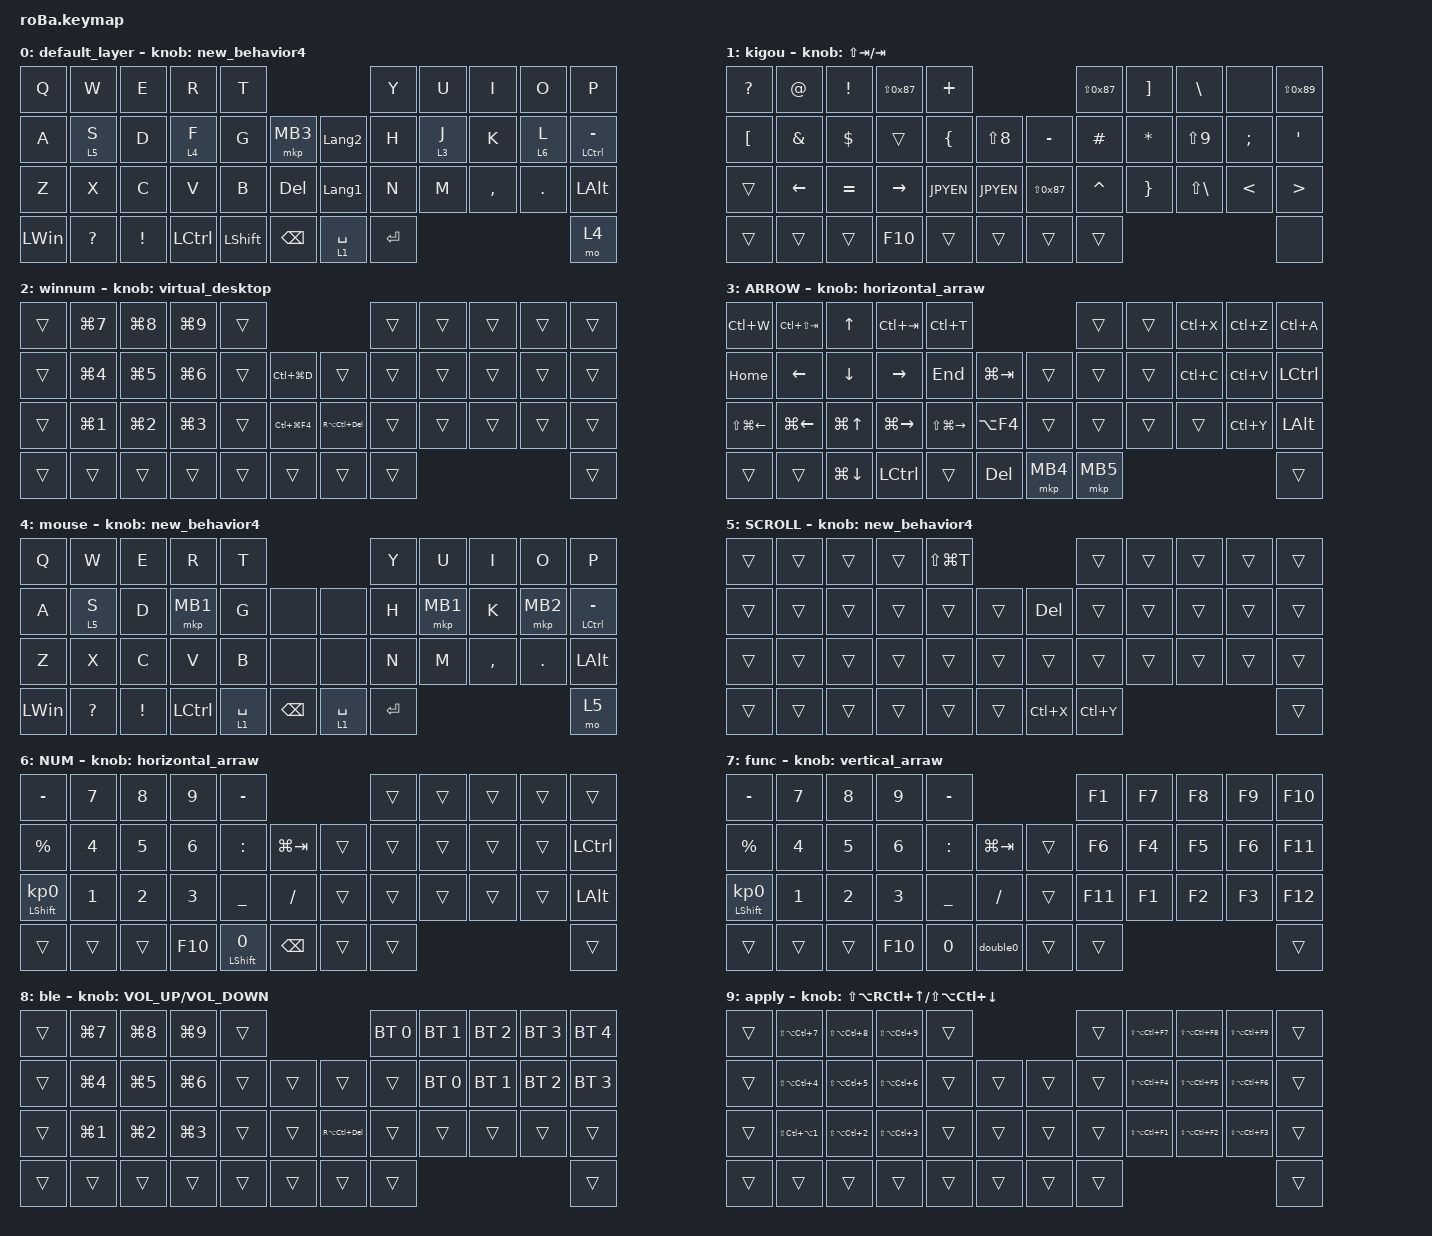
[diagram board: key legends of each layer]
#include <behaviors.dtsi>
#include <dt-bindings/zmk/bt.h>
#include <dt-bindings/zmk/keys.h>
#include <dt-bindings/zmk/pointing.h>

#define MOUSE 4
#define SCROLL 5
#define NUM 6
#define JPYEN 0x89
#define JPUNSC LS(0x87)
#define JPPIPE LS(0x89)
#define ZMK_MOUSE_POINTING_SCRL_VAL 100

/ {
    combos {
        compatible = "zmk,combos";

        UP_ARROWc {
            bindings = <&kp LS(TAB)>;
            key-positions = <2 7>;
        };

        DOWN_ARROWc {
            bindings = <&kp TAB>;
            key-positions = <12 19>;
        };

        wintab {
            bindings = <&kp LG(TAB)>;
            key-positions = <10 21>;
        };

        layer2 {
            bindings = <&mo 7>;
            key-positions = <3 13>;
        };

        layer3 {
            bindings = <&mo 8>;
            key-positions = <13 12>;
        };

        layer6 {
            bindings = <&mo 2>;
            key-positions = <8 20>;
        };

        lang2 {
            bindings = <&kp LANGUAGE_2>;
            key-positions = <39 18>;
        };

        screens {
            bindings = <&kp LG(LS(S))>;
            key-positions = <38 40>;
        };

        lang1 {
            bindings = <&kp LANGUAGE_1>;
            key-positions = <38 18>;
        };

        layer9 {
            bindings = <&mo 9>;
            key-positions = <40 39>;
        };
    };

    macros {
        double0: double0 {
            compatible = "zmk,behavior-macro";
            #binding-cells = <0>;
            bindings = <&kp NUMBER_0 &kp NUMBER_0>;
            label = "DOUBLE0";
        };

        under_score: under_score {
            compatible = "zmk,behavior-macro";
            #binding-cells = <0>;
            bindings = <&kp LANG1 &kp U &kp N &kp S &kp C &kp SPACE &kp ENTER &kp LANGUAGE_2>;
            label = "UNDER_SCORE";
        };

        back_s: back_s {
            compatible = "zmk,behavior-macro";
            #binding-cells = <0>;
            bindings = <&kp LANG1 &kp B &kp A &kp C &kp K &kp S &kp SPACE &kp RET &kp LANGUAGE_2>;
            label = "BACK_S";
        };

        pipe: pipe {
            compatible = "zmk,behavior-macro";
            #binding-cells = <0>;
            bindings = <&kp LANG1 &kp P &kp I &kp P &kp E &kp SPACE &kp RET &kp LANGUAGE_2>;
            label = "PIPE";
        };

        underscorejp: underscorejp {
            compatible = "zmk,behavior-macro";
            #binding-cells = <0>;
            bindings = <&kp LANG1 &kp U &kp N &kp S &kp C &kp SPACE &kp ENTER>;
            label = "UNDERSCOREJP";
        };

        backsjp: backsjp {
            compatible = "zmk,behavior-macro";
            #binding-cells = <0>;
            bindings = <&kp LANG1 &kp B &kp A &kp C &kp K &kp S &kp SPACE &kp RET>;
            label = "BACKSJP";
        };

        pipejp: pipejp {
            compatible = "zmk,behavior-macro";
            #binding-cells = <0>;
            bindings = <&kp LANG1 &kp P &kp I &kp P &kp E &kp SPACE &kp RET &kp LANGUAGE_2>;
            label = "PIPEJP";
        };
    };

    behaviors {
        vertical_arraw: vertical_arraw {
            compatible = "zmk,behavior-sensor-rotate";
            label = "VERTICAL_ARRAW";
            #sensor-binding-cells = <0>;
            bindings = <&kp UP_ARROW>, <&kp DOWN_ARROW>;

            tap-ms = <1>;
        };

        virtual_desktop: virtual_desktop {
            compatible = "zmk,behavior-sensor-rotate";
            label = "VIRTUAL_DESKTOP";
            #sensor-binding-cells = <0>;
            bindings = <&kp LC(LG(RIGHT))>, <&kp LC(LG(LEFT_ARROW))>;

            tap-ms = <20>;
        };

        horizontal_arraw: horizontal_arraw {
            compatible = "zmk,behavior-sensor-rotate";
            label = "HORIZONTAL_ARRAW";
            #sensor-binding-cells = <0>;
            bindings = <&kp LEFT>, <&kp RIGHT>;

            tap-ms = <1>;
        };

        new_behavior4: new_behavior4 {
            compatible = "zmk,behavior-sensor-rotate";
            label = "NEW_BEHAVIOR4";
            #sensor-binding-cells = <0>;
            bindings = <&msc SCRL_DOWN>, <&msc SCRL_UP>;

            tap-ms = <60>;
        };
    };

    keymap {
        compatible = "zmk,keymap";

        default_layer {
            bindings = <
&kp Q         &kp W         &kp E            &kp R      &kp T                                              &kp Y      &kp U    &kp I      &kp O    &kp P
&kp A         &lt 5 S       &kp D            &lt 4 F    &kp G           &mkp MB3           &kp LANGUAGE_2  &kp H      &lt 3 J  &kp K      &lt 6 L  &mt LEFT_CONTROL MINUS
&kp Z         &kp X         &kp C            &kp V      &kp B           &kp DELETE         &kp LANGUAGE_1  &kp N      &kp M    &kp COMMA  &kp DOT  &kp LEFT_ALT
&kp LEFT_WIN  &kp QUESTION  &kp EXCLAMATION  &kp LCTRL  &kp LEFT_SHIFT  &kp BACKSPACE      &lt 1 SPACE     &kp ENTER                               &mo 4
            >;

            sensor-bindings = <&new_behavior4>;
        };

        kigou {
            bindings = <
&kp QUESTION      &kp AT_SIGN     &kp EXCLAMATION  &kp JPUNSC       &kp PLUS                                    &kp JPUNSC  &kp RIGHT_BRACKET  &kp BACKSLASH      &none          &kp JPPIPE
&kp LEFT_BRACKET  &kp AMPERSAND   &kp DOLLAR       &trans           &kp LEFT_BRACE  &kp LS(N8)      &kp MINUS   &kp HASH    &kp ASTERISK       &kp LS(N9)         &kp SEMICOLON  &kp SINGLE_QUOTE
&trans            &kp LEFT_ARROW  &kp EQUAL        &kp RIGHT_ARROW  &kp JPYEN       &kp JPYEN       &kp JPUNSC  &kp CARET   &kp RIGHT_BRACE    &kp LS(BACKSLASH)  &kp LESS_THAN  &kp GREATER_THAN
&trans            &trans          &trans           &kp F10          &trans          &trans          &trans      &trans                                                           &none
            >;

            sensor-bindings = <&inc_dec_kp LS(TAB) TAB>;
        };

        winnum {
            bindings = <
&trans  &kp LG(NUMBER_7)  &kp LG(NUMBER_8)  &kp LG(NUMBER_9)  &trans                                       &trans  &trans  &trans  &trans  &trans
&trans  &kp LG(NUMBER_4)  &kp LG(NUMBER_5)  &kp LG(NUMBER_6)  &trans  &kp LC(LG(D))       &trans           &trans  &trans  &trans  &trans  &trans
&trans  &kp LG(NUMBER_1)  &kp LG(NUMBER_2)  &kp LG(NUMBER_3)  &trans  &kp LC(LG(F4))      &kp RA(LC(DEL))  &trans  &trans  &trans  &trans  &trans
&trans  &trans            &trans            &trans            &trans  &trans              &trans           &trans                          &trans
            >;

            sensor-bindings = <&virtual_desktop>;
        };

        ARROW {
            bindings = <
&kp LC(W)         &kp LC(LS(TAB))     &kp UP_ARROW        &kp LC(TAB)          &kp LC(T)                                     &trans    &trans  &kp LC(X)  &kp LC(Z)  &kp LC(A)
&kp HOME          &kp LEFT_ARROW      &kp DOWN_ARROW      &kp RIGHT_ARROW      &kp END            &kp LG(TAB)      &trans    &trans    &trans  &kp LC(C)  &kp LC(V)  &kp LCTRL
&kp LS(LG(LEFT))  &kp LG(LEFT_ARROW)  &kp LG(UP_ARROW)    &kp LG(RIGHT_ARROW)  &kp LS(LG(RIGHT))  &kp LA(F4)       &trans    &trans    &trans  &trans     &kp LC(Y)  &kp LEFT_ALT
&trans            &trans              &kp LG(DOWN_ARROW)  &kp LCTRL            &trans             &kp DEL          &mkp MB4  &mkp MB5                                &trans
            >;

            sensor-bindings = <&horizontal_arraw>;
        };

        mouse {
            bindings = <
&kp Q         &kp W         &kp E            &kp R      &kp T                                        &kp Y      &kp U     &kp I      &kp O     &kp P
&kp A         &lt 5 S       &kp D            &mkp MB1   &kp G        &none              &none        &kp H      &mkp MB1  &kp K      &mkp MB2  &mt LEFT_CONTROL MINUS
&kp Z         &kp X         &kp C            &kp V      &kp B        &none              &none        &kp N      &kp M     &kp COMMA  &kp DOT   &kp LEFT_ALT
&kp LEFT_WIN  &kp QUESTION  &kp EXCLAMATION  &kp LCTRL  &lt 1 SPACE  &kp BACKSPACE      &lt 1 SPACE  &kp ENTER                                 &mo 5
            >;

            sensor-bindings = <&new_behavior4>;
        };

        SCROLL {
            bindings = <
&trans  &trans  &trans  &trans  &kp LS(LG(T))                          &trans     &trans  &trans  &trans  &trans
&trans  &trans  &trans  &trans  &trans         &trans      &kp DELETE  &trans     &trans  &trans  &trans  &trans
&trans  &trans  &trans  &trans  &trans         &trans      &trans      &trans     &trans  &trans  &trans  &trans
&trans  &trans  &trans  &trans  &trans         &trans      &kp LC(X)   &kp LC(Y)                          &trans
            >;

            sensor-bindings = <&new_behavior4>;
        };

        NUM {
            bindings = <
&kp MINUS                   &kp N7  &kp N8  &kp N9   &kp MINUS                                     &trans  &trans  &trans  &trans  &trans
&kp PERCENT                 &kp N4  &kp N5  &kp N6   &kp COLON          &kp LG(TAB)        &trans  &trans  &trans  &trans  &trans  &kp LCTRL
&mt LEFT_SHIFT KP_NUMBER_0  &kp N1  &kp N2  &kp N3   &kp UNDER          &kp SLASH          &trans  &trans  &trans  &trans  &trans  &kp LEFT_ALT
&trans                      &trans  &trans  &kp F10  &mt LEFT_SHIFT N0  &kp BACKSPACE      &trans  &trans                          &trans
            >;

            sensor-bindings = <&horizontal_arraw>;
        };

        func {
            bindings = <
&kp MINUS                   &kp N7  &kp N8  &kp N9   &kp MINUS                           &kp F1   &kp F7  &kp F8  &kp F9  &kp F10
&kp PERCENT                 &kp N4  &kp N5  &kp N6   &kp COLON  &kp LG(TAB)      &trans  &kp F6   &kp F4  &kp F5  &kp F6  &kp F11
&mt LEFT_SHIFT KP_NUMBER_0  &kp N1  &kp N2  &kp N3   &kp UNDER  &kp SLASH        &trans  &kp F11  &kp F1  &kp F2  &kp F3  &kp F12
&trans                      &trans  &trans  &kp F10  &kp N0     &double0         &trans  &trans                           &trans
            >;

            sensor-bindings = <&vertical_arraw>;
        };

        ble {
            bindings = <
&trans  &kp LG(NUMBER_7)  &kp LG(NUMBER_8)  &kp LG(NUMBER_9)  &trans                               &bt BT_SEL 0  &bt BT_SEL 1  &bt BT_SEL 2  &bt BT_SEL 3  &bt BT_SEL 4
&trans  &kp LG(NUMBER_4)  &kp LG(NUMBER_5)  &kp LG(NUMBER_6)  &trans  &trans      &trans           &trans        &bt BT_SEL 0  &bt BT_SEL 1  &bt BT_SEL 2  &bt BT_SEL 3
&trans  &kp LG(NUMBER_1)  &kp LG(NUMBER_2)  &kp LG(NUMBER_3)  &trans  &trans      &kp RA(LC(DEL))  &trans        &trans        &trans        &trans        &trans
&trans  &trans            &trans            &trans            &trans  &trans      &trans           &trans                                                  &trans
            >;

            sensor-bindings = <&inc_dec_kp C_VOLUME_UP C_VOLUME_DOWN>;
        };

        apply {
            bindings = <
&trans  &kp LS(LA(LC(N7)))  &kp LS(LA(LC(N8)))  &kp LS(LA(LC(N9)))  &trans                      &trans  &kp LS(LA(LC(F7)))  &kp LS(LA(LC(F8)))  &kp LS(LA(LC(F9)))  &trans
&trans  &kp LS(LA(LC(N4)))  &kp LS(LA(LC(N5)))  &kp LS(LA(LC(N6)))  &trans  &trans      &trans  &trans  &kp LS(LA(LC(F4)))  &kp LS(LA(LC(F5)))  &kp LS(LA(LC(F6)))  &trans
&trans  &kp LS(LC(LA(N1)))  &kp LS(LA(LC(N2)))  &kp LS(LA(LC(N3)))  &trans  &trans      &trans  &trans  &kp LS(LA(LC(F1)))  &kp LS(LA(LC(F2)))  &kp LS(LA(LC(F3)))  &trans
&trans  &trans              &trans              &trans              &trans  &trans      &trans  &trans                                                              &trans
            >;

            sensor-bindings = <&inc_dec_kp LS(LA(RC(UP_ARROW))) LS(LA(LC(DOWN)))>;
        };
    };
};
